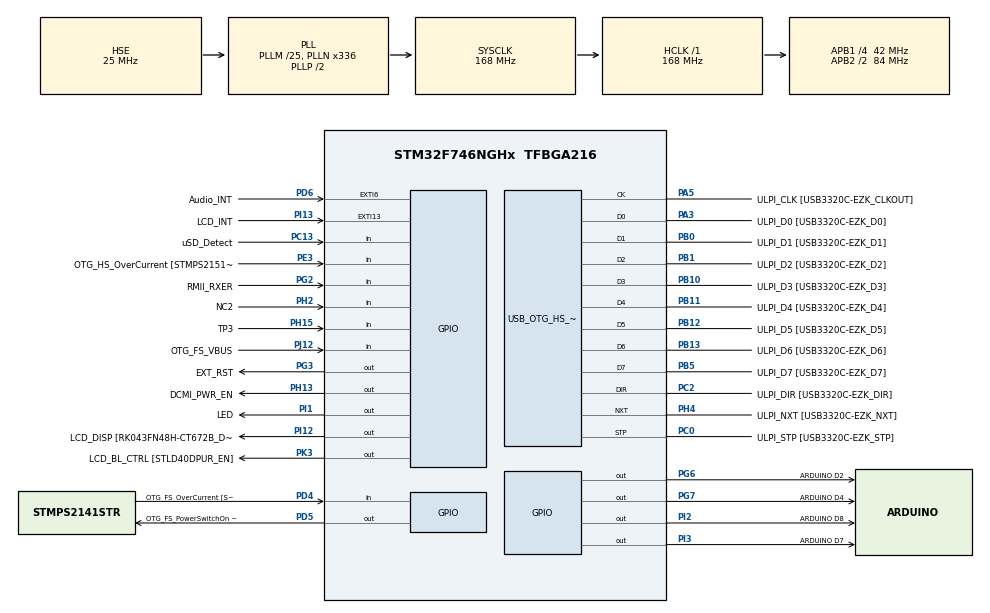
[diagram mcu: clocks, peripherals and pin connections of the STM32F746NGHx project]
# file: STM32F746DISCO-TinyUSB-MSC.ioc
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Mcu.Family=STM32F7
Mcu.Name=STM32F746NGHx
Mcu.Package=TFBGA216
NVIC.OTG_HS_IRQn=true\:10\:0\:true\:false\:true\:true\:true\:true
NVIC.PriorityGroup=NVIC_PRIORITYGROUP_4
PA0/WKUP.GPIO_Label=ARDUINO A0
PA0/WKUP.GPIO_Mode=GPIO_MODE_ANALOG
PA0/WKUP.GPIO_PuPd=GPIO_NOPULL
PA0/WKUP.Signal=ADCx_IN0
PA1.GPIO_Label=RMII_REF_CLK [LAN8742A-CZ-TR_REFCLK0]
PA1.Signal=ETH_REF_CLK
PA10.GPIO_Label=OTG_FS_ID
PA10.Signal=USB_OTG_FS_ID
PA11.GPIO_Label=OTG_FS_N
PA11.Signal=USB_OTG_FS_DM
PA12.GPIO_Label=OTG_FS_P
PA12.Signal=USB_OTG_FS_DP
PA13.GPIO_Label=SWDIO
PA13.Signal=SYS_JTMS-SWDIO
PA14.GPIO_Label=SWCLK
PA14.Signal=SYS_JTCK-SWCLK
PA15.GPIO_Label=ARDUINO PWM/D9
PA15.GPIO_ModeDefaultPP=GPIO_MODE_AF_PP
PA15.GPIO_PuPd=GPIO_NOPULL
PA15.GPIO_Speed=GPIO_SPEED_FREQ_LOW
PA15.Signal=S_TIM2_CH1_ETR
PA2.GPIO_Label=RMII_MDIO [LAN8742A-CZ-TR_MDIO]
PA2.Signal=ETH_MDIO
PA3.GPIO_Label=ULPI_D0 [USB3320C-EZK_D0]
PA3.Mode=Device_HS
PA3.Signal=USB_OTG_HS_ULPI_D0
PA4.GPIO_Label=DCMI_HSYNC
PA4.Signal=DCMI_HSYNC
PA5.GPIO_Label=ULPI_CLK [USB3320C-EZK_CLKOUT]
PA5.Mode=Device_HS
PA5.Signal=USB_OTG_HS_ULPI_CK
PA6.Signal=DCMI_PIXCLK
PA7.GPIO_Label=RMII_CRS_DV [LAN8742A-CZ-TR_CRS_DV]
PA7.Signal=ETH_CRS_DV
PA8.GPIO_Label=ARDUINO PWM/D10
PA8.GPIO_ModeDefaultPP=GPIO_MODE_AF_PP
PA8.GPIO_PuPd=GPIO_NOPULL
PA8.GPIO_Speed=GPIO_SPEED_FREQ_LOW
PA8.Signal=S_TIM1_CH1
PA9.GPIO_Label=VCP_TX [STM32F103CBT6_PA3]
PA9.GPIO_Mode=GPIO_MODE_AF_PP
PA9.GPIO_PuPd=GPIO_NOPULL
PA9.GPIO_Speed=GPIO_SPEED_FREQ_LOW
PA9.Signal=USART1_TX
PB0.GPIO_Label=ULPI_D1 [USB3320C-EZK_D1]
PB0.Mode=Device_HS
PB0.Signal=USB_OTG_HS_ULPI_D1
PB1.GPIO_Label=ULPI_D2 [USB3320C-EZK_D2]
PB1.Mode=Device_HS
PB1.Signal=USB_OTG_HS_ULPI_D2
PB10.GPIO_Label=ULPI_D3 [USB3320C-EZK_D3]
PB10.Mode=Device_HS
PB10.Signal=USB_OTG_HS_ULPI_D3
PB11.GPIO_Label=ULPI_D4 [USB3320C-EZK_D4]
PB11.Mode=Device_HS
PB11.Signal=USB_OTG_HS_ULPI_D4
PB12.GPIO_Label=ULPI_D5 [USB3320C-EZK_D5]
PB12.Mode=Device_HS
PB12.Signal=USB_OTG_HS_ULPI_D5
PB13.GPIO_Label=ULPI_D6 [USB3320C-EZK_D6]
PB13.Mode=Device_HS
PB13.Signal=USB_OTG_HS_ULPI_D6
PB14.GPIO_Label=ARDUINO MISO/D12
PB14.GPIO_Mode=GPIO_MODE_AF_PP
PB14.GPIO_PuPd=GPIO_NOPULL
PB14.GPIO_Speed=GPIO_SPEED_FREQ_LOW
PB14.Signal=SPI2_MISO
PB15.GPIO_Label=ARDUINO MOSI/PWM/D11
PB15.GPIO_Mode=GPIO_MODE_AF_PP
PB15.GPIO_PuPd=GPIO_NOPULL
PB15.GPIO_Speed=GPIO_SPEED_FREQ_LOW
PB15.Signal=SPI2_MOSI
PB2.Signal=QUADSPI_CLK
PB3.GPIO_Label=SWO
PB3.Signal=SYS_JTDO-SWO
PB4.GPIO_Label=ARDUINO PWM/D3
PB4.GPIO_ModeDefaultPP=GPIO_MODE_AF_PP
PB4.GPIO_PuPd=GPIO_NOPULL
PB4.GPIO_Speed=GPIO_SPEED_FREQ_LOW
PB4.Signal=S_TIM3_CH1
PB5.GPIO_Label=ULPI_D7 [USB3320C-EZK_D7]
PB5.Mode=Device_HS
PB5.Signal=USB_OTG_HS_ULPI_D7
PB6.GPIO_Label=QSPI_NCS [N25Q128A13EF840E_S]
PB6.Signal=QUADSPI_BK1_NCS
PB7.GPIO_Label=VCP_RX [STM32F103CBT6_PA2]
PB7.GPIO_Mode=GPIO_MODE_AF_PP
PB7.GPIO_PuPd=GPIO_NOPULL
PB7.GPIO_Speed=GPIO_SPEED_FREQ_LOW
PB7.Signal=USART1_RX
PB8.GPIO_Label=ARDUINO SCL/D15
PB8.GPIO_Mode=GPIO_MODE_AF_OD
PB8.GPIO_PuPd=GPIO_NOPULL
PB8.GPIO_Speed=GPIO_SPEED_FREQ_LOW
PB8.Signal=I2C1_SCL
PB9.GPIO_Label=ARDUINO SDA/D14
PB9.GPIO_Mode=GPIO_MODE_AF_OD
PB9.GPIO_PuPd=GPIO_NOPULL
PB9.GPIO_Speed=GPIO_SPEED_FREQ_LOW
PB9.Signal=I2C1_SDA
PC0.GPIO_Label=ULPI_STP [USB3320C-EZK_STP]
PC0.Mode=Device_HS
PC0.Signal=USB_OTG_HS_ULPI_STP
PC1.GPIO_Label=RMII_MDC [LAN8742A-CZ-TR_MDC]
PC1.Signal=ETH_MDC
PC10.GPIO_Label=SDMMC_D2
PC10.Signal=SDMMC1_D2
PC11.GPIO_Label=SDMMC_D3
PC11.Signal=SDMMC1_D3
PC12.GPIO_Label=SDMMC_CK
PC12.Signal=SDMMC1_CK
PC13.GPIO_Label=uSD_Detect
PC13.Signal=GPIO_Input
PC14/OSC32_IN.GPIO_Label=RCC_OSC32_IN
PC14/OSC32_IN.Mode=LSE-External-Clock-Source
PC14/OSC32_IN.Signal=RCC_OSC32_IN
PC15/OSC32_OUT.GPIO_Label=RCC_OSC32_OUT
PC15/OSC32_OUT.Mode=LSE-External-Clock-Source
PC15/OSC32_OUT.Signal=RCC_OSC32_OUT
PC2.GPIO_Label=ULPI_DIR [USB3320C-EZK_DIR]
PC2.Mode=Device_HS
PC2.Signal=USB_OTG_HS_ULPI_DIR
PC3.GPIO_Label=FMC_SDCKE0 [MT48LC4M32B2B5-6A_CKE]
PC3.Signal=FMC_SDCKE0
PC4.GPIO_Label=RMII_RXD0 [LAN8742A-CZ-TR_RXD0]
PC4.Signal=ETH_RXD0
PC5.GPIO_Label=RMII_RXD1 [LAN8742A-CZ-TR_RXD1]
PC5.Signal=ETH_RXD1
PC6.GPIO_Label=ARDUINO TX/D1
PC6.Signal=USART6_TX
PC7.GPIO_Label=ARDUINO RX/D0
PC7.Signal=USART6_RX
PC8.Signal=SDMMC1_D0
PC9.Signal=SDMMC1_D1
PD0.GPIO_Label=FMC_D2 [MT48LC4M32B2B5-6A_DQ2]
PD0.Signal=FMC_D2_DA2
PD1.GPIO_Label=FMC_D3 [MT48LC4M32B2B5-6A_DQ3]
PD1.Signal=FMC_D3_DA3
PD10.GPIO_Label=FMC_D15 [MT48LC4M32B2B5-6A_DQ15]
PD10.Signal=FMC_D15_DA15
PD11.GPIO_Label=QSPI_D0 [N25Q128A13EF840E_DQ0]
PD11.Signal=QUADSPI_BK1_IO0
PD12.GPIO_Label=QSPI_D1 [N25Q128A13EF840E_DQ1]
PD12.Signal=QUADSPI_BK1_IO1
PD13.GPIO_Label=QSPI_D3 [N25Q128A13EF840E_DQ3]
PD13.Signal=QUADSPI_BK1_IO3
PD14.GPIO_Label=FMC_D0 [MT48LC4M32B2B5-6A_DQ0]
PD14.Signal=FMC_D0_DA0
PD15.GPIO_Label=FMC_D1 [MT48LC4M32B2B5-6A_DQ1]
PD15.Signal=FMC_D1_DA1
PD2.GPIO_Label=SDMMC_D0
PD2.Signal=SDMMC1_CMD
PD3.GPIO_Label=DCMI_D5
PD3.Signal=DCMI_D5
PD4.GPIO_Label=OTG_FS_OverCurrent [STMPS2141STR_Fault]
PD4.Signal=GPIO_Input
PD5.GPIO_Label=OTG_FS_PowerSwitchOn [STMPS2141STR_EN]
PD5.PinState=GPIO_PIN_SET
PD5.Signal=GPIO_Output
PD6.GPIO_Label=Audio_INT
PD6.GPIO_ModeDefaultEXTI=GPIO_MODE_EVT_RISING
PD6.Signal=GPXTI6
PD7.GPIO_Label=SPDIF_RX0 [74LVC1G04SE_4]
PD7.Signal=SPDIFRX_IN0
PD8.GPIO_Label=FMC_D13 [MT48LC4M32B2B5-6A_DQ13]
PD8.Signal=FMC_D13_DA13
PD9.GPIO_Label=FMC_D14 [MT48LC4M32B2B5-6A_DQ14]
PD9.Signal=FMC_D14_DA14
PE0.GPIO_Label=FMC_NBL0 [MT48LC4M32B2B5-6A_DQM0]
PE0.Signal=FMC_NBL0
PE1.GPIO_Label=FMC_NBL1 [MT48LC4M32B2B5-6A_DQM1]
PE1.Signal=FMC_NBL1
PE10.GPIO_Label=FMC_D7 [MT48LC4M32B2B5-6A_DQ7]
PE10.Signal=FMC_D7_DA7
PE11.GPIO_Label=FMC_D8 [MT48LC4M32B2B5-6A_DQ8]
PE11.Signal=FMC_D8_DA8
PE12.GPIO_Label=FMC_D9 [MT48LC4M32B2B5-6A_DQ9]
PE12.Signal=FMC_D9_DA9
PE13.GPIO_Label=FMC_D10 [MT48LC4M32B2B5-6A_DQ10]
PE13.Signal=FMC_D10_DA10
PE14.GPIO_Label=FMC_D11 [MT48LC4M32B2B5-6A_DQ11]
PE14.Signal=FMC_D11_DA11
PE15.GPIO_Label=FMC_D12 [MT48LC4M32B2B5-6A_DQ12]
PE15.Signal=FMC_D12_DA12
PE2.GPIO_Label=QSPI_D2 [N25Q128A13EF840E_DQ2]
PE2.Signal=QUADSPI_BK1_IO2
PE3.GPIO_Label=OTG_HS_OverCurrent [STMPS2151STR_FAULT]
PE3.Signal=GPIO_Input
PE4.GPIO_Label=LCD_B0 [RK043FN48H-CT672B_B0]
PE4.Signal=LTDC_B0
PE5.GPIO_Label=DCMI_D6
PE5.Signal=DCMI_D6
PE6.GPIO_Label=DCMI_D7
PE6.Signal=DCMI_D7
PE7.GPIO_Label=FMC_D4 [MT48LC4M32B2B5-6A_DQ4]
PE7.Signal=FMC_D4_DA4
PE8.GPIO_Label=FMC_D5 [MT48LC4M32B2B5-6A_DQ5]
PE8.Signal=FMC_D5_DA5
PE9.GPIO_Label=FMC_D6 [MT48LC4M32B2B5-6A_DQ6]
PE9.Signal=FMC_D6_DA6
PF0.GPIO_Label=FMC_A0 [MT48LC4M32B2B5-6A_A0]
PF0.Signal=FMC_A0
PF1.GPIO_Label=FMC_A1 [MT48LC4M32B2B5-6A_A1]
PF1.Signal=FMC_A1
PF10.GPIO_Label=ARDUINO A1
PF10.GPIO_Mode=GPIO_MODE_ANALOG
PF10.GPIO_PuPd=GPIO_NOPULL
PF10.Signal=ADC3_IN8
PF11.GPIO_Label=FMC_SDNRAS [MT48LC4M32B2B5-6A_RAS]
PF11.Signal=FMC_SDNRAS
PF12.GPIO_Label=FMC_A6 [MT48LC4M32B2B5-6A_A6]
PF12.Signal=FMC_A6
PF13.GPIO_Label=FMC_A7 [MT48LC4M32B2B5-6A_A7]
PF13.Signal=FMC_A7
PF14.GPIO_Label=FMC_A8 [MT48LC4M32B2B5-6A_A8]
PF14.Signal=FMC_A8
PF15.GPIO_Label=FMC_A9 [MT48LC4M32B2B5-6A_A9]
PF15.Signal=FMC_A9
PF2.GPIO_Label=FMC_A2 [MT48LC4M32B2B5-6A_A2]
PF2.Signal=FMC_A2
PF3.GPIO_Label=FMC_A3 [MT48LC4M32B2B5-6A_A3]
PF3.Signal=FMC_A3
PF4.GPIO_Label=FMC_A4 [MT48LC4M32B2B5-6A_A4]
PF4.Signal=FMC_A4
PF5.GPIO_Label=FMC_A5 [MT48LC4M32B2B5-6A_A5]
PF5.Signal=FMC_A5
PF6.GPIO_Label=ARDUINO A5
PF6.GPIO_Mode=GPIO_MODE_ANALOG
PF6.GPIO_PuPd=GPIO_NOPULL
PF6.Signal=ADC3_IN4
PF7.GPIO_Label=ARDUINO A4
PF7.GPIO_Mode=GPIO_MODE_ANALOG
PF7.GPIO_PuPd=GPIO_NOPULL
PF7.Signal=ADC3_IN5
PF8.GPIO_Label=ARDUINO A3
PF8.GPIO_Mode=GPIO_MODE_ANALOG
PF8.GPIO_PuPd=GPIO_NOPULL
PF8.Signal=ADC3_IN6
PF9.GPIO_Label=ARDUINO A2
PF9.GPIO_Mode=GPIO_MODE_ANALOG
PF9.GPIO_PuPd=GPIO_NOPULL
PF9.Signal=ADC3_IN7
PG0.GPIO_Label=FMC_A10 [MT48LC4M32B2B5-6A_A10]
PG0.Signal=FMC_A10
PG1.GPIO_Label=FMC_A11 [MT48LC4M32B2B5-6A_A11]
PG1.Signal=FMC_A11
PG10.GPIO_Label=SAI2_SDB [WM8994ECS/R_ADCDAT1]
PG10.Signal=SAI2_SD_B
PG11.GPIO_Label=RMII_TX_EN [LAN8742A-CZ-TR_TXEN]
PG11.Signal=ETH_TX_EN
PG12.GPIO_Label=LCD_B4 [RK043FN48H-CT672B_B4]
PG12.Signal=LTDC_B4
PG13.GPIO_Label=RMII_TXD0 [LAN8742A-CZ-TR_TXD0]
PG13.Signal=ETH_TXD0
PG14.GPIO_Label=RMII_TXD1 [LAN8742A-CZ-TR_TXD1]
PG14.Signal=ETH_TXD1
PG15.GPIO_Label=FMC_SDNCAS [MT48LC4M32B2B5-6A_CAS]
PG15.Signal=FMC_SDNCAS
PG2.GPIO_Label=RMII_RXER
PG2.Signal=GPIO_Input
PG3.GPIO_Label=EXT_RST
PG3.Signal=GPIO_Output
PG4.GPIO_Label=FMC_BA0 [MT48LC4M32B2B5-6A_BA0]
PG4.Signal=FMC_A14_BA0
PG5.GPIO_Label=FMC_BA1 [MT48LC4M32B2B5-6A_BA1]
PG5.Signal=FMC_A15_BA1
PG6.GPIO_Label=ARDUINO D2
PG6.Signal=GPIO_Output
PG7.GPIO_Label=ARDUINO D4
PG7.Signal=GPIO_Output
PG8.GPIO_Label=FMC_SDCLK [MT48LC4M32B2B5-6A_CLK]
PG8.Signal=FMC_SDCLK
PG9.GPIO_Label=DCMI_VSYNC
PG9.Signal=DCMI_VSYNC
PH0/OSC_IN.GPIO_Label=OSC_25M [NZ2520SB-25.00M_OUT]
PH0/OSC_IN.Mode=HSE-External-Clock-Source
PH0/OSC_IN.Signal=RCC_OSC_IN
PH1/OSC_OUT.Mode=HSE-External-Clock-Source
PH1/OSC_OUT.Signal=RCC_OSC_OUT
PH10.GPIO_Label=DCMI_D1
PH10.Signal=DCMI_D1
PH11.GPIO_Label=DCMI_D2
PH11.Signal=DCMI_D2
PH12.GPIO_Label=DCMI_D3
PH12.Signal=DCMI_D3
PH13.GPIO_Label=DCMI_PWR_EN
PH13.Signal=GPIO_Output
PH14.GPIO_Label=DCMI_D4
PH14.Signal=DCMI_D4
PH15.GPIO_Label=TP3
PH15.Signal=GPIO_Input
PH2.GPIO_Label=NC2
PH2.Signal=GPIO_Input
PH3.GPIO_Label=FMC_SDNE0 [MT48LC4M32B2B5-6A_CS]
PH3.Signal=FMC_SDNE0
PH4.GPIO_Label=ULPI_NXT [USB3320C-EZK_NXT]
PH4.Mode=Device_HS
PH4.Signal=USB_OTG_HS_ULPI_NXT
PH5.GPIO_Label=FMC_SDNME [MT48LC4M32B2B5-6A_WE]
PH5.Signal=FMC_SDNWE
PH6.GPIO_Label=ARDUINO PWM/D6
PH6.Signal=S_TIM12_CH1
PH7.GPIO_Label=LCD_SCL [RK043FN48H-CT672B_SCL]
PH7.Signal=I2C3_SCL
PH8.GPIO_Label=LCD_SDA [RK043FN48H-CT672B_SDA]
PH8.Signal=I2C3_SDA
PH9.GPIO_Label=DCMI_D0
PH9.Signal=DCMI_D0
PI0.GPIO_Label=ARDUINO PWM/CS/D5
PI0.GPIO_ModeDefaultPP=GPIO_MODE_AF_PP
PI0.GPIO_PuPd=GPIO_NOPULL
PI0.GPIO_Speed=GPIO_SPEED_FREQ_LOW
PI0.Signal=S_TIM5_CH4
PI1.GPIO_Label=LED
PI1.Signal=GPIO_Output
PI10.GPIO_Label=LCD_HSYNC [RK043FN48H-CT672B_HSYNC]
PI10.Signal=LTDC_HSYNC
PI12.GPIO_Label=LCD_DISP [RK043FN48H-CT672B_DISP] 
PI12.Signal=GPIO_Output
PI13.GPIO_Label=LCD_INT
PI13.GPIO_ModeDefaultEXTI=GPIO_MODE_EVT_RISING
PI13.Signal=GPXTI13
PI14.GPIO_Label=LCD_CLK [RK043FN48H-CT672B_CLK]
PI14.Signal=LTDC_CLK
PI15.GPIO_Label=LCD_R0 [RK043FN48H-CT672B_R0]
PI15.Signal=LTDC_R0
PI2.GPIO_Label=ARDUINO D8
PI2.Signal=GPIO_Output
PI3.GPIO_Label=ARDUINO D7
PI3.Signal=GPIO_Output
PI4.GPIO_Label=SAI2_MCLKA [WM8994ECS/R_MCLK1]
PI4.Signal=SAI2_MCLK_A
PI5.GPIO_Label=SAI2_SCKA [WM8994ECS/R_BCLK1]
PI5.Signal=SAI2_SCK_A
PI6.GPIO_Label=SAI2_SDA [WM8994ECS/R_DACDAT1]
PI6.Signal=SAI2_SD_A
PI7.GPIO_Label=SAI2_FSA [WM8994ECS/R_LRCLK1]
PI7.Signal=SAI2_FS_A
PI8.GPIO_Label=NC1 [TP2]
PI8.Signal=RTC_TS
PI9.GPIO_Label=LCD_VSYNC [RK043FN48H-CT672B_VSYNC]
PI9.Signal=LTDC_VSYNC
PJ0.GPIO_Label=LCD_R1 [RK043FN48H-CT672B_R1]
PJ0.Signal=LTDC_R1
PJ1.GPIO_Label=LCD_R2 [RK043FN48H-CT672B_R2]
PJ1.Signal=LTDC_R2
PJ10.GPIO_Label=LCD_G3 [RK043FN48H-CT672B_G3]
PJ10.Signal=LTDC_G3
PJ11.GPIO_Label=LCD_G4 [RK043FN48H-CT672B_G4]
PJ11.Signal=LTDC_G4
PJ12.GPIO_Label=OTG_FS_VBUS
PJ12.Signal=GPIO_Input
PJ13.GPIO_Label=LCD_B1 [RK043FN48H-CT672B_B1]
PJ13.Signal=LTDC_B1
PJ14.GPIO_Label=LCD_B2 [RK043FN48H-CT672B_B2]
PJ14.Signal=LTDC_B2
PJ15.GPIO_Label=LCD_B3 [RK043FN48H-CT672B_B3]
PJ15.Signal=LTDC_B3
PJ2.GPIO_Label=LCD_R3 [RK043FN48H-CT672B_R3]
PJ2.Signal=LTDC_R3
PJ3.GPIO_Label=LCD_R4 [RK043FN48H-CT672B_R4]
PJ3.Signal=LTDC_R4
PJ4.GPIO_Label=LCD_R5 [RK043FN48H-CT672B_R5]
PJ4.Signal=LTDC_R5
PJ5.GPIO_Label=LCD_R6 [RK043FN48H-CT672B_R6]
PJ5.Signal=LTDC_R6
PJ6.GPIO_Label=LCD_R7 [RK043FN48H-CT672B_R7]
PJ6.Signal=LTDC_R7
PJ7.GPIO_Label=LCD_G0 [RK043FN48H-CT672B_G0]
PJ7.Signal=LTDC_G0
PJ8.GPIO_Label=LCD_G1 [RK043FN48H-CT672B_G1]
PJ8.Signal=LTDC_G1
PJ9.GPIO_Label=LCD_G2 [RK043FN48H-CT672B_G2]
PJ9.Signal=LTDC_G2
PK0.GPIO_Label=LCD_G5 [RK043FN48H-CT672B_G5]
PK0.Signal=LTDC_G5
PK1.GPIO_Label=LCD_G6 [RK043FN48H-CT672B_G6]
PK1.Signal=LTDC_G6
PK2.GPIO_Label=LCD_G7 [RK043FN48H-CT672B_G7]
PK2.Signal=LTDC_G7
PK3.GPIO_Label=LCD_BL_CTRL [STLD40DPUR_EN]
PK3.Signal=GPIO_Output
PK4.GPIO_Label=LCD_B5 [RK043FN48H-CT672B_B5]
PK4.Signal=LTDC_B5
PK5.GPIO_Label=LCD_B6 [RK043FN48H-CT672B_B6]
PK5.Signal=LTDC_B6
PK6.GPIO_Label=LCD_B7 [RK043FN48H-CT672B_B7]
PK6.Signal=LTDC_B7
PK7.GPIO_Label=LCD_DE [RK043FN48H-CT672B_DE]
PK7.Signal=LTDC_DE
ProjectManager.HeapSize=0x200
ProjectManager.StackSize=0x400
ProjectManager.TargetToolchain=CMake
RCC.AHBFreq_Value=168000000
RCC.APB1CLKDivider=RCC_HCLK_DIV4
RCC.APB1Freq_Value=42000000
RCC.APB1TimFreq_Value=84000000
RCC.APB2CLKDivider=RCC_HCLK_DIV2
RCC.APB2Freq_Value=84000000
RCC.APB2TimFreq_Value=168000000
RCC.CortexFreq_Value=168000000
RCC.HCLKFreq_Value=168000000
RCC.HSE_VALUE=25000000
RCC.HSI_VALUE=16000000
RCC.LSE_VALUE=32768
RCC.PLLM=25
RCC.PLLN=336
RCC.PLLSourceVirtual=RCC_PLLSOURCE_HSE
RCC.SYSCLKFreq_VALUE=168000000
RCC.SYSCLKSource=RCC_SYSCLKSOURCE_PLLCLK
RCC.USBFreq_Value=168000000
RCC.VCOOutputFreq_Value=336000000
SH.ADCx_IN0.0=ADC3_IN0
SH.FMC_A0.0=FMC_A0
SH.FMC_A1.0=FMC_A1
SH.FMC_A10.0=FMC_A10
SH.FMC_A11.0=FMC_A11
SH.FMC_A14_BA0.0=FMC_BA0
SH.FMC_A15_BA1.0=FMC_BA1
SH.FMC_A2.0=FMC_A2
SH.FMC_A3.0=FMC_A3
SH.FMC_A4.0=FMC_A4
SH.FMC_A5.0=FMC_A5
SH.FMC_A6.0=FMC_A6
SH.FMC_A7.0=FMC_A7
SH.FMC_A8.0=FMC_A8
SH.FMC_A9.0=FMC_A9
SH.FMC_D0_DA0.0=FMC_D0
SH.FMC_D10_DA10.0=FMC_D10
SH.FMC_D11_DA11.0=FMC_D11
SH.FMC_D12_DA12.0=FMC_D12
SH.FMC_D13_DA13.0=FMC_D13
SH.FMC_D14_DA14.0=FMC_D14
SH.FMC_D15_DA15.0=FMC_D15
SH.FMC_D1_DA1.0=FMC_D1
SH.FMC_D2_DA2.0=FMC_D2
SH.FMC_D3_DA3.0=FMC_D3
SH.FMC_D4_DA4.0=FMC_D4
SH.FMC_D5_DA5.0=FMC_D5
SH.FMC_D6_DA6.0=FMC_D6
SH.FMC_D7_DA7.0=FMC_D7
SH.FMC_D8_DA8.0=FMC_D8
SH.FMC_D9_DA9.0=FMC_D9
SH.FMC_NBL0.0=FMC_NBL0
SH.FMC_NBL1.0=FMC_NBL1
SH.FMC_SDCLK.0=FMC_SDCLK
SH.FMC_SDNCAS.0=FMC_SDNCAS
SH.FMC_SDNRAS.0=FMC_SDNRAS
SH.FMC_SDNWE.0=FMC_SDNWE
SH.S_TIM12_CH1.0=TIM12_CH1
SH.S_TIM1_CH1.0=TIM1_CH1
SH.S_TIM2_CH1_ETR.0=TIM2_CH1
SH.S_TIM3_CH1.0=TIM3_CH1
SH.S_TIM5_CH4.0=TIM5_CH4
USB_OTG_HS.VirtualMode-Device_HS=Device_HS
board=STM32F746G-DISCO

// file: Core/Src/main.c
/* USER CODE BEGIN Header */
/**
  ******************************************************************************
  * @file           : main.c
  * @brief          : Main program body
  ******************************************************************************
  * @attention
  *
  * Copyright (c) 2024 STMicroelectronics.
  * All rights reserved.
  *
  * This software is licensed under terms that can be found in the LICENSE file
  * in the root directory of this software component.
  * If no LICENSE file comes with this software, it is provided AS-IS.
  *
  ******************************************************************************
  */
/* USER CODE END Header */
#include "main.h"

/* USER CODE BEGIN Includes */
#include "tusb.h"
/* USER CODE END Includes */

/* USER CODE BEGIN PTD */

/* Blink pattern
 * - 250 ms  : device not mounted
 * - 1000 ms : device mounted
 * - 2500 ms : device is suspended
 */
enum {
  BLINK_NOT_MOUNTED = 250,
  BLINK_MOUNTED = 1000,
  BLINK_SUSPENDED = 2500,
};

/* USER CODE END PTD */

PCD_HandleTypeDef hpcd_USB_OTG_HS;

/* USER CODE BEGIN PV */

static uint32_t blink_interval_ms = BLINK_NOT_MOUNTED;

/* USER CODE END PV */

void SystemClock_Config(void);
static void MX_GPIO_Init(void);
static void MX_USB_OTG_HS_PCD_Init(void);
/* USER CODE BEGIN PFP */

static void led_blinking_task(void);
static void cdc_task(void);

/* USER CODE END PFP */

int main(void)
{

  /* MCU Configuration--------------------------------------------------------*/

  /* Reset of all peripherals, Initializes the Flash interface and the Systick. */
  HAL_Init();

  /* Configure the system clock */
  SystemClock_Config();

  /* Initialize all configured peripherals */
  MX_GPIO_Init();
  MX_USB_OTG_HS_PCD_Init();
  /* USER CODE BEGIN 2 */
  tusb_init();
  /* USER CODE END 2 */

  /* Infinite loop */
  while (1)
  {

    /* USER CODE BEGIN 3 */
    tud_task();
    led_blinking_task();

    cdc_task();
  }
  /* USER CODE END 3 */
}

void SystemClock_Config(void)
{
  RCC_OscInitTypeDef RCC_OscInitStruct = {0};
  RCC_ClkInitTypeDef RCC_ClkInitStruct = {0};

  /** Configure the main internal regulator output voltage
  */
  __HAL_RCC_PWR_CLK_ENABLE();
  __HAL_PWR_VOLTAGESCALING_CONFIG(PWR_REGULATOR_VOLTAGE_SCALE2);

  /** Initializes the RCC Oscillators according to the specified parameters
  * in the RCC_OscInitTypeDef structure.
  */
  RCC_OscInitStruct.OscillatorType = RCC_OSCILLATORTYPE_HSE;
  RCC_OscInitStruct.HSEState = RCC_HSE_BYPASS;
  RCC_OscInitStruct.PLL.PLLState = RCC_PLL_ON;
  RCC_OscInitStruct.PLL.PLLSource = RCC_PLLSOURCE_HSE;
  RCC_OscInitStruct.PLL.PLLM = 25;
  RCC_OscInitStruct.PLL.PLLN = 336;
  RCC_OscInitStruct.PLL.PLLP = RCC_PLLP_DIV2;
  RCC_OscInitStruct.PLL.PLLQ = 2;
  if (HAL_RCC_OscConfig(&RCC_OscInitStruct) != HAL_OK)
  {
    Error_Handler();
  }

  /** Initializes the CPU, AHB and APB buses clocks
  */
  RCC_ClkInitStruct.ClockType = RCC_CLOCKTYPE_HCLK|RCC_CLOCKTYPE_SYSCLK
                              |RCC_CLOCKTYPE_PCLK1|RCC_CLOCKTYPE_PCLK2;
  RCC_ClkInitStruct.SYSCLKSource = RCC_SYSCLKSOURCE_PLLCLK;
  RCC_ClkInitStruct.AHBCLKDivider = RCC_SYSCLK_DIV1;
  RCC_ClkInitStruct.APB1CLKDivider = RCC_HCLK_DIV4;
  RCC_ClkInitStruct.APB2CLKDivider = RCC_HCLK_DIV2;

  if (HAL_RCC_ClockConfig(&RCC_ClkInitStruct, FLASH_LATENCY_5) != HAL_OK)
  {
    Error_Handler();
  }
}

static void MX_USB_OTG_HS_PCD_Init(void)
{

  hpcd_USB_OTG_HS.Instance = USB_OTG_HS;
  hpcd_USB_OTG_HS.Init.dev_endpoints = 8;
  hpcd_USB_OTG_HS.Init.speed = PCD_SPEED_HIGH;
  hpcd_USB_OTG_HS.Init.dma_enable = DISABLE;
  hpcd_USB_OTG_HS.Init.phy_itface = USB_OTG_ULPI_PHY;
  hpcd_USB_OTG_HS.Init.Sof_enable = DISABLE;
  hpcd_USB_OTG_HS.Init.low_power_enable = DISABLE;
  hpcd_USB_OTG_HS.Init.lpm_enable = DISABLE;
  hpcd_USB_OTG_HS.Init.vbus_sensing_enable = DISABLE;
  hpcd_USB_OTG_HS.Init.use_dedicated_ep1 = DISABLE;
  hpcd_USB_OTG_HS.Init.use_external_vbus = DISABLE;
  if (HAL_PCD_Init(&hpcd_USB_OTG_HS) != HAL_OK)
  {
    Error_Handler();
  }

}

static void MX_GPIO_Init(void)
{
  GPIO_InitTypeDef GPIO_InitStruct = {0};

  /* GPIO Ports Clock Enable */
  __HAL_RCC_GPIOE_CLK_ENABLE();
  __HAL_RCC_GPIOG_CLK_ENABLE();
  __HAL_RCC_GPIOB_CLK_ENABLE();
  __HAL_RCC_GPIOD_CLK_ENABLE();
  __HAL_RCC_GPIOC_CLK_ENABLE();
  __HAL_RCC_GPIOA_CLK_ENABLE();
  __HAL_RCC_GPIOJ_CLK_ENABLE();
  __HAL_RCC_GPIOI_CLK_ENABLE();
  __HAL_RCC_GPIOK_CLK_ENABLE();
  __HAL_RCC_GPIOF_CLK_ENABLE();
  __HAL_RCC_GPIOH_CLK_ENABLE();

  /*Configure GPIO pin Output Level */
  HAL_GPIO_WritePin(OTG_FS_PowerSwitchOn_GPIO_Port, OTG_FS_PowerSwitchOn_Pin, GPIO_PIN_SET);

  /*Configure GPIO pin Output Level */
  HAL_GPIO_WritePin(GPIOI, ARDUINO_D7_Pin|ARDUINO_D8_Pin|LED_Pin|LCD_DISP_Pin, GPIO_PIN_RESET);

  /*Configure GPIO pin Output Level */
  HAL_GPIO_WritePin(LCD_BL_CTRL_GPIO_Port, LCD_BL_CTRL_Pin, GPIO_PIN_RESET);

  /*Configure GPIO pin Output Level */
  HAL_GPIO_WritePin(DCMI_PWR_EN_GPIO_Port, DCMI_PWR_EN_Pin, GPIO_PIN_RESET);

  /*Configure GPIO pin Output Level */
  HAL_GPIO_WritePin(GPIOG, ARDUINO_D4_Pin|ARDUINO_D2_Pin|EXT_RST_Pin, GPIO_PIN_RESET);

  /*Configure GPIO pin : LCD_B0_Pin */
  GPIO_InitStruct.Pin = LCD_B0_Pin;
  GPIO_InitStruct.Mode = GPIO_MODE_AF_PP;
  GPIO_InitStruct.Pull = GPIO_NOPULL;
  GPIO_InitStruct.Speed = GPIO_SPEED_FREQ_LOW;
  GPIO_InitStruct.Alternate = GPIO_AF14_LTDC;
  HAL_GPIO_Init(LCD_B0_GPIO_Port, &GPIO_InitStruct);

  /*Configure GPIO pin : OTG_HS_OverCurrent_Pin */
  GPIO_InitStruct.Pin = OTG_HS_OverCurrent_Pin;
  GPIO_InitStruct.Mode = GPIO_MODE_INPUT;
  GPIO_InitStruct.Pull = GPIO_NOPULL;
  HAL_GPIO_Init(OTG_HS_OverCurrent_GPIO_Port, &GPIO_InitStruct);

  /*Configure GPIO pin : QSPI_D2_Pin */
  GPIO_InitStruct.Pin = QSPI_D2_Pin;
  GPIO_InitStruct.Mode = GPIO_MODE_AF_PP;
  GPIO_InitStruct.Pull = GPIO_NOPULL;
  GPIO_InitStruct.Speed = GPIO_SPEED_FREQ_VERY_HIGH;
  GPIO_InitStruct.Alternate = GPIO_AF9_QUADSPI;
  HAL_GPIO_Init(QSPI_D2_GPIO_Port, &GPIO_InitStruct);

  /*Configure GPIO pins : RMII_TXD1_Pin RMII_TXD0_Pin RMII_TX_EN_Pin */
  GPIO_InitStruct.Pin = RMII_TXD1_Pin|RMII_TXD0_Pin|RMII_TX_EN_Pin;
  GPIO_InitStruct.Mode = GPIO_MODE_AF_PP;
  GPIO_InitStruct.Pull = GPIO_NOPULL;
  GPIO_InitStruct.Speed = GPIO_SPEED_FREQ_VERY_HIGH;
  GPIO_InitStruct.Alternate = GPIO_AF11_ETH;
  HAL_GPIO_Init(GPIOG, &GPIO_InitStruct);

  /*Configure GPIO pins : FMC_NBL1_Pin FMC_NBL0_Pin FMC_D5_Pin FMC_D6_Pin
                           FMC_D8_Pin FMC_D11_Pin FMC_D4_Pin FMC_D7_Pin
                           FMC_D9_Pin FMC_D12_Pin FMC_D10_Pin */
  GPIO_InitStruct.Pin = FMC_NBL1_Pin|FMC_NBL0_Pin|FMC_D5_Pin|FMC_D6_Pin
                          |FMC_D8_Pin|FMC_D11_Pin|FMC_D4_Pin|FMC_D7_Pin
                          |FMC_D9_Pin|FMC_D12_Pin|FMC_D10_Pin;
  GPIO_InitStruct.Mode = GPIO_MODE_AF_PP;
  GPIO_InitStruct.Pull = GPIO_NOPULL;
  GPIO_InitStruct.Speed = GPIO_SPEED_FREQ_VERY_HIGH;
  GPIO_InitStruct.Alternate = GPIO_AF12_FMC;
  HAL_GPIO_Init(GPIOE, &GPIO_InitStruct);

  /*Configure GPIO pins : ARDUINO_SCL_D15_Pin ARDUINO_SDA_D14_Pin */
  GPIO_InitStruct.Pin = ARDUINO_SCL_D15_Pin|ARDUINO_SDA_D14_Pin;
  GPIO_InitStruct.Mode = GPIO_MODE_AF_OD;
  GPIO_InitStruct.Pull = GPIO_NOPULL;
  GPIO_InitStruct.Speed = GPIO_SPEED_FREQ_LOW;
  GPIO_InitStruct.Alternate = GPIO_AF4_I2C1;
  HAL_GPIO_Init(GPIOB, &GPIO_InitStruct);

  /*Configure GPIO pin : ARDUINO_PWM_D3_Pin */
  GPIO_InitStruct.Pin = ARDUINO_PWM_D3_Pin;
  GPIO_InitStruct.Mode = GPIO_MODE_AF_PP;
  GPIO_InitStruct.Pull = GPIO_NOPULL;
  GPIO_InitStruct.Speed = GPIO_SPEED_FREQ_LOW;
  GPIO_InitStruct.Alternate = GPIO_AF2_TIM3;
  HAL_GPIO_Init(ARDUINO_PWM_D3_GPIO_Port, &GPIO_InitStruct);

  /*Configure GPIO pin : SPDIF_RX0_Pin */
  GPIO_InitStruct.Pin = SPDIF_RX0_Pin;
  GPIO_InitStruct.Mode = GPIO_MODE_AF_PP;
  GPIO_InitStruct.Pull = GPIO_NOPULL;
  GPIO_InitStruct.Speed = GPIO_SPEED_FREQ_LOW;
  GPIO_InitStruct.Alternate = GPIO_AF8_SPDIFRX;
  HAL_GPIO_Init(SPDIF_RX0_GPIO_Port, &GPIO_InitStruct);

  /*Configure GPIO pins : SDMMC_CK_Pin SDMMC_D3_Pin SDMMC_D2_Pin PC9
                           PC8 */
  GPIO_InitStruct.Pin = SDMMC_CK_Pin|SDMMC_D3_Pin|SDMMC_D2_Pin|GPIO_PIN_9
                          |GPIO_PIN_8;
  GPIO_InitStruct.Mode = GPIO_MODE_AF_PP;
  GPIO_InitStruct.Pull = GPIO_NOPULL;
  GPIO_InitStruct.Speed = GPIO_SPEED_FREQ_VERY_HIGH;
  GPIO_InitStruct.Alternate = GPIO_AF12_SDMMC1;
  HAL_GPIO_Init(GPIOC, &GPIO_InitStruct);

  /*Configure GPIO pin : ARDUINO_PWM_D9_Pin */
  GPIO_InitStruct.Pin = ARDUINO_PWM_D9_Pin;
  GPIO_InitStruct.Mode = GPIO_MODE_AF_PP;
  GPIO_InitStruct.Pull = GPIO_NOPULL;
  GPIO_InitStruct.Speed = GPIO_SPEED_FREQ_LOW;
  GPIO_InitStruct.Alternate = GPIO_AF1_TIM2;
  HAL_GPIO_Init(ARDUINO_PWM_D9_GPIO_Port, &GPIO_InitStruct);

  /*Configure GPIO pins : DCMI_D6_Pin DCMI_D7_Pin */
  GPIO_InitStruct.Pin = DCMI_D6_Pin|DCMI_D7_Pin;
  GPIO_InitStruct.Mode = GPIO_MODE_AF_PP;
  GPIO_InitStruct.Pull = GPIO_NOPULL;
  GPIO_InitStruct.Speed = GPIO_SPEED_FREQ_LOW;
  GPIO_InitStruct.Alternate = GPIO_AF13_DCMI;
  HAL_GPIO_Init(GPIOE, &GPIO_InitStruct);

  /*Configure GPIO pin : VCP_RX_Pin */
  GPIO_InitStruct.Pin = VCP_RX_Pin;
  GPIO_InitStruct.Mode = GPIO_MODE_AF_PP;
  GPIO_InitStruct.Pull = GPIO_NOPULL;
  GPIO_InitStruct.Speed = GPIO_SPEED_FREQ_LOW;
  GPIO_InitStruct.Alternate = GPIO_AF7_USART1;
  HAL_GPIO_Init(VCP_RX_GPIO_Port, &GPIO_InitStruct);

  /*Configure GPIO pin : QSPI_NCS_Pin */
  GPIO_InitStruct.Pin = QSPI_NCS_Pin;
  GPIO_InitStruct.Mode = GPIO_MODE_AF_PP;
  GPIO_InitStruct.Pull = GPIO_NOPULL;
  GPIO_InitStruct.Speed = GPIO_SPEED_FREQ_VERY_HIGH;
  GPIO_InitStruct.Alternate = GPIO_AF10_QUADSPI;
  HAL_GPIO_Init(QSPI_NCS_GPIO_Port, &GPIO_InitStruct);

  /*Configure GPIO pins : FMC_SDNCAS_Pin FMC_SDCLK_Pin FMC_A11_Pin FMC_A10_Pin
                           FMC_BA1_Pin FMC_BA0_Pin */
  GPIO_InitStruct.Pin = FMC_SDNCAS_Pin|FMC_SDCLK_Pin|FMC_A11_Pin|FMC_A10_Pin
                          |FMC_BA1_Pin|FMC_BA0_Pin;
  GPIO_InitStruct.Mode = GPIO_MODE_AF_PP;
  GPIO_InitStruct.Pull = GPIO_NOPULL;
  GPIO_InitStruct.Speed = GPIO_SPEED_FREQ_VERY_HIGH;
  GPIO_InitStruct.Alternate = GPIO_AF12_FMC;
  HAL_GPIO_Init(GPIOG, &GPIO_InitStruct);

  /*Configure GPIO pins : LCD_B1_Pin LCD_B2_Pin LCD_B3_Pin LCD_G4_Pin
                           LCD_G1_Pin LCD_G3_Pin LCD_G0_Pin LCD_G2_Pin
                           LCD_R7_Pin LCD_R5_Pin LCD_R6_Pin LCD_R4_Pin
                           LCD_R3_Pin LCD_R1_Pin LCD_R2_Pin */
  GPIO_InitStruct.Pin = LCD_B1_Pin|LCD_B2_Pin|LCD_B3_Pin|LCD_G4_Pin
                          |LCD_G1_Pin|LCD_G3_Pin|LCD_G0_Pin|LCD_G2_Pin
                          |LCD_R7_Pin|LCD_R5_Pin|LCD_R6_Pin|LCD_R4_Pin
                          |LCD_R3_Pin|LCD_R1_Pin|LCD_R2_Pin;
  GPIO_InitStruct.Mode = GPIO_MODE_AF_PP;
  GPIO_InitStruct.Pull = GPIO_NOPULL;
  GPIO_InitStruct.Speed = GPIO_SPEED_FREQ_LOW;
  GPIO_InitStruct.Alternate = GPIO_AF14_LTDC;
  HAL_GPIO_Init(GPIOJ, &GPIO_InitStruct);

  /*Configure GPIO pin : OTG_FS_VBUS_Pin */
  GPIO_InitStruct.Pin = OTG_FS_VBUS_Pin;
  GPIO_InitStruct.Mode = GPIO_MODE_INPUT;
  GPIO_InitStruct.Pull = GPIO_NOPULL;
  HAL_GPIO_Init(OTG_FS_VBUS_GPIO_Port, &GPIO_InitStruct);

  /*Configure GPIO pin : Audio_INT_Pin */
  GPIO_InitStruct.Pin = Audio_INT_Pin;
  GPIO_InitStruct.Mode = GPIO_MODE_EVT_RISING;
  GPIO_InitStruct.Pull = GPIO_NOPULL;
  HAL_GPIO_Init(Audio_INT_GPIO_Port, &GPIO_InitStruct);

  /*Configure GPIO pins : FMC_D2_Pin FMC_D3_Pin FMC_D1_Pin FMC_D15_Pin
                           FMC_D0_Pin FMC_D14_Pin FMC_D13_Pin */
  GPIO_InitStruct.Pin = FMC_D2_Pin|FMC_D3_Pin|FMC_D1_Pin|FMC_D15_Pin
                          |FMC_D0_Pin|FMC_D14_Pin|FMC_D13_Pin;
  GPIO_InitStruct.Mode = GPIO_MODE_AF_PP;
  GPIO_InitStruct.Pull = GPIO_NOPULL;
  GPIO_InitStruct.Speed = GPIO_SPEED_FREQ_VERY_HIGH;
  GPIO_InitStruct.Alternate = GPIO_AF12_FMC;
  HAL_GPIO_Init(GPIOD, &GPIO_InitStruct);

  /*Configure GPIO pins : OTG_FS_P_Pin OTG_FS_N_Pin OTG_FS_ID_Pin */
  GPIO_InitStruct.Pin = OTG_FS_P_Pin|OTG_FS_N_Pin|OTG_FS_ID_Pin;
  GPIO_InitStruct.Mode = GPIO_MODE_AF_PP;
  GPIO_InitStruct.Pull = GPIO_NOPULL;
  GPIO_InitStruct.Speed = GPIO_SPEED_FREQ_VERY_HIGH;
  GPIO_InitStruct.Alternate = GPIO_AF10_OTG_FS;
  HAL_GPIO_Init(GPIOA, &GPIO_InitStruct);

  /*Configure GPIO pins : SAI2_MCLKA_Pin SAI2_SCKA_Pin SAI2_FSA_Pin SAI2_SDA_Pin */
  GPIO_InitStruct.Pin = SAI2_MCLKA_Pin|SAI2_SCKA_Pin|SAI2_FSA_Pin|SAI2_SDA_Pin;
  GPIO_InitStruct.Mode = GPIO_MODE_AF_PP;
  GPIO_InitStruct.Pull = GPIO_NOPULL;
  GPIO_InitStruct.Speed = GPIO_SPEED_FREQ_LOW;
  GPIO_InitStruct.Alternate = GPIO_AF10_SAI2;
  HAL_GPIO_Init(GPIOI, &GPIO_InitStruct);

  /*Configure GPIO pins : LCD_DE_Pin LCD_B7_Pin LCD_B6_Pin LCD_B5_Pin
                           LCD_G6_Pin LCD_G7_Pin LCD_G5_Pin */
  GPIO_InitStruct.Pin = LCD_DE_Pin|LCD_B7_Pin|LCD_B6_Pin|LCD_B5_Pin
                          |LCD_G6_Pin|LCD_G7_Pin|LCD_G5_Pin;
  GPIO_InitStruct.Mode = GPIO_MODE_AF_PP;
  GPIO_InitStruct.Pull = GPIO_NOPULL;
  GPIO_InitStruct.Speed = GPIO_SPEED_FREQ_LOW;
  GPIO_InitStruct.Alternate = GPIO_AF14_LTDC;
  HAL_GPIO_Init(GPIOK, &GPIO_InitStruct);

  /*Configure GPIO pin : LCD_B4_Pin */
  GPIO_InitStruct.Pin = LCD_B4_Pin;
  GPIO_InitStruct.Mode = GPIO_MODE_AF_PP;
  GPIO_InitStruct.Pull = GPIO_NOPULL;
  GPIO_InitStruct.Speed = GPIO_SPEED_FREQ_LOW;
  GPIO_InitStruct.Alternate = GPIO_AF9_LTDC;
  HAL_GPIO_Init(LCD_B4_GPIO_Port, &GPIO_InitStruct);

  /*Configure GPIO pin : SAI2_SDB_Pin */
  GPIO_InitStruct.Pin = SAI2_SDB_Pin;
  GPIO_InitStruct.Mode = GPIO_MODE_AF_PP;
  GPIO_InitStruct.Pull = GPIO_NOPULL;
  GPIO_InitStruct.Speed = GPIO_SPEED_FREQ_LOW;
  GPIO_InitStruct.Alternate = GPIO_AF10_SAI2;
  HAL_GPIO_Init(SAI2_SDB_GPIO_Port, &GPIO_InitStruct);

  /*Configure GPIO pin : OTG_FS_PowerSwitchOn_Pin */
  GPIO_InitStruct.Pin = OTG_FS_PowerSwitchOn_Pin;
  GPIO_InitStruct.Mode = GPIO_MODE_OUTPUT_PP;
  GPIO_InitStruct.Pull = GPIO_NOPULL;
  GPIO_InitStruct.Speed = GPIO_SPEED_FREQ_LOW;
  HAL_GPIO_Init(OTG_FS_PowerSwitchOn_GPIO_Port, &GPIO_InitStruct);

  /*Configure GPIO pin : DCMI_D5_Pin */
  GPIO_InitStruct.Pin = DCMI_D5_Pin;
  GPIO_InitStruct.Mode = GPIO_MODE_AF_PP;
  GPIO_InitStruct.Pull = GPIO_NOPULL;
  GPIO_InitStruct.Speed = GPIO_SPEED_FREQ_LOW;
  GPIO_InitStruct.Alternate = GPIO_AF13_DCMI;
  HAL_GPIO_Init(DCMI_D5_GPIO_Port, &GPIO_InitStruct);

  /*Configure GPIO pins : ARDUINO_D7_Pin ARDUINO_D8_Pin LED_Pin LCD_DISP_Pin */
  GPIO_InitStruct.Pin = ARDUINO_D7_Pin|ARDUINO_D8_Pin|LED_Pin|LCD_DISP_Pin;
  GPIO_InitStruct.Mode = GPIO_MODE_OUTPUT_PP;
  GPIO_InitStruct.Pull = GPIO_NOPULL;
  GPIO_InitStruct.Speed = GPIO_SPEED_FREQ_LOW;
  HAL_GPIO_Init(GPIOI, &GPIO_InitStruct);

  /*Configure GPIO pin : uSD_Detect_Pin */
  GPIO_InitStruct.Pin = uSD_Detect_Pin;
  GPIO_InitStruct.Mode = GPIO_MODE_INPUT;
  GPIO_InitStruct.Pull = GPIO_NOPULL;
  HAL_GPIO_Init(uSD_Detect_GPIO_Port, &GPIO_InitStruct);

  /*Configure GPIO pins : FMC_A0_Pin FMC_A1_Pin FMC_A2_Pin FMC_A3_Pin
                           FMC_A4_Pin FMC_A5_Pin FMC_A6_Pin FMC_A9_Pin
                           FMC_A7_Pin FMC_A8_Pin FMC_SDNRAS_Pin */
  GPIO_InitStruct.Pin = FMC_A0_Pin|FMC_A1_Pin|FMC_A2_Pin|FMC_A3_Pin
                          |FMC_A4_Pin|FMC_A5_Pin|FMC_A6_Pin|FMC_A9_Pin
                          |FMC_A7_Pin|FMC_A8_Pin|FMC_SDNRAS_Pin;
  GPIO_InitStruct.Mode = GPIO_MODE_AF_PP;
  GPIO_InitStruct.Pull = GPIO_NOPULL;
  GPIO_InitStruct.Speed = GPIO_SPEED_FREQ_VERY_HIGH;
  GPIO_InitStruct.Alternate = GPIO_AF12_FMC;
  HAL_GPIO_Init(GPIOF, &GPIO_InitStruct);

  /*Configure GPIO pins : LCD_HSYNC_Pin LCD_VSYNC_Pin LCD_R0_Pin LCD_CLK_Pin */
  GPIO_InitStruct.Pin = LCD_HSYNC_Pin|LCD_VSYNC_Pin|LCD_R0_Pin|LCD_CLK_Pin;
  GPIO_InitStruct.Mode = GPIO_MODE_AF_PP;
  GPIO_InitStruct.Pull = GPIO_NOPULL;
  GPIO_InitStruct.Speed = GPIO_SPEED_FREQ_LOW;
  GPIO_InitStruct.Alternate = GPIO_AF14_LTDC;
  HAL_GPIO_Init(GPIOI, &GPIO_InitStruct);

  /*Configure GPIO pin : LCD_BL_CTRL_Pin */
  GPIO_InitStruct.Pin = LCD_BL_CTRL_Pin;
  GPIO_InitStruct.Mode = GPIO_MODE_OUTPUT_PP;
  GPIO_InitStruct.Pull = GPIO_NOPULL;
  GPIO_InitStruct.Speed = GPIO_SPEED_FREQ_LOW;
  HAL_GPIO_Init(LCD_BL_CTRL_GPIO_Port, &GPIO_InitStruct);

  /*Configure GPIO pin : DCMI_VSYNC_Pin */
  GPIO_InitStruct.Pin = DCMI_VSYNC_Pin;
  GPIO_InitStruct.Mode = GPIO_MODE_AF_PP;
  GPIO_InitStruct.Pull = GPIO_NOPULL;
  GPIO_InitStruct.Speed = GPIO_SPEED_FREQ_LOW;
  GPIO_InitStruct.Alternate = GPIO_AF13_DCMI;
  HAL_GPIO_Init(DCMI_VSYNC_GPIO_Port, &GPIO_InitStruct);

  /*Configure GPIO pin : OTG_FS_OverCurrent_Pin */
  GPIO_InitStruct.Pin = OTG_FS_OverCurrent_Pin;
  GPIO_InitStruct.Mode = GPIO_MODE_INPUT;
  GPIO_InitStruct.Pull = GPIO_NOPULL;
  HAL_GPIO_Init(OTG_FS_OverCurrent_GPIO_Port, &GPIO_InitStruct);

  /*Configure GPIO pin : SDMMC_D0_Pin */
  GPIO_InitStruct.Pin = SDMMC_D0_Pin;
  GPIO_InitStruct.Mode = GPIO_MODE_AF_PP;
  GPIO_InitStruct.Pull = GPIO_NOPULL;
  GPIO_InitStruct.Speed = GPIO_SPEED_FREQ_VERY_HIGH;
  GPIO_InitStruct.Alternate = GPIO_AF12_SDMMC1;
  HAL_GPIO_Init(SDMMC_D0_GPIO_Port, &GPIO_InitStruct);

  /*Configure GPIO pins : TP3_Pin NC2_Pin */
  GPIO_InitStruct.Pin = TP3_Pin|NC2_Pin;
  GPIO_InitStruct.Mode = GPIO_MODE_INPUT;
  GPIO_InitStruct.Pull = GPIO_NOPULL;
  HAL_GPIO_Init(GPIOH, &GPIO_InitStruct);

  /*Configure GPIO pin : DCMI_PWR_EN_Pin */
  GPIO_InitStruct.Pin = DCMI_PWR_EN_Pin;
  GPIO_InitStruct.Mode = GPIO_MODE_OUTPUT_PP;
  GPIO_InitStruct.Pull = GPIO_NOPULL;
  GPIO_InitStruct.Speed = GPIO_SPEED_FREQ_LOW;
  HAL_GPIO_Init(DCMI_PWR_EN_GPIO_Port, &GPIO_InitStruct);

  /*Configure GPIO pins : DCMI_D4_Pin DCMI_D3_Pin DCMI_D0_Pin DCMI_D2_Pin
                           DCMI_D1_Pin */
  GPIO_InitStruct.Pin = DCMI_D4_Pin|DCMI_D3_Pin|DCMI_D0_Pin|DCMI_D2_Pin
                          |DCMI_D1_Pin;
  GPIO_InitStruct.Mode = GPIO_MODE_AF_PP;
  GPIO_InitStruct.Pull = GPIO_NOPULL;
  GPIO_InitStruct.Speed = GPIO_SPEED_FREQ_LOW;
  GPIO_InitStruct.Alternate = GPIO_AF13_DCMI;
  HAL_GPIO_Init(GPIOH, &GPIO_InitStruct);

  /*Configure GPIO pin : ARDUINO_PWM_CS_D5_Pin */
  GPIO_InitStruct.Pin = ARDUINO_PWM_CS_D5_Pin;
  GPIO_InitStruct.Mode = GPIO_MODE_AF_PP;
  GPIO_InitStruct.Pull = GPIO_NOPULL;
  GPIO_InitStruct.Speed = GPIO_SPEED_FREQ_LOW;
  GPIO_InitStruct.Alternate = GPIO_AF2_TIM5;
  HAL_GPIO_Init(ARDUINO_PWM_CS_D5_GPIO_Port, &GPIO_InitStruct);

  /*Configure GPIO pin : VCP_TX_Pin */
  GPIO_InitStruct.Pin = VCP_TX_Pin;
  GPIO_InitStruct.Mode = GPIO_MODE_AF_PP;
  GPIO_InitStruct.Pull = GPIO_NOPULL;
  GPIO_InitStruct.Speed = GPIO_SPEED_FREQ_LOW;
  GPIO_InitStruct.Alternate = GPIO_AF7_USART1;
  HAL_GPIO_Init(VCP_TX_GPIO_Port, &GPIO_InitStruct);

  /*Configure GPIO pin : ARDUINO_PWM_D10_Pin */
  GPIO_InitStruct.Pin = ARDUINO_PWM_D10_Pin;
  GPIO_InitStruct.Mode = GPIO_MODE_AF_PP;
  GPIO_InitStruct.Pull = GPIO_NOPULL;
  GPIO_InitStruct.Speed = GPIO_SPEED_FREQ_LOW;
  GPIO_InitStruct.Alternate = GPIO_AF1_TIM1;
  HAL_GPIO_Init(ARDUINO_PWM_D10_GPIO_Port, &GPIO_InitStruct);

  /*Configure GPIO pin : LCD_INT_Pin */
  GPIO_InitStruct.Pin = LCD_INT_Pin;
  GPIO_InitStruct.Mode = GPIO_MODE_EVT_RISING;
  GPIO_InitStruct.Pull = GPIO_NOPULL;
  HAL_GPIO_Init(LCD_INT_GPIO_Port, &GPIO_InitStruct);

  /*Configure GPIO pins : ARDUINO_RX_D0_Pin ARDUINO_TX_D1_Pin */
  GPIO_InitStruct.Pin = ARDUINO_RX_D0_Pin|ARDUINO_TX_D1_Pin;
  GPIO_InitStruct.Mode = GPIO_MODE_AF_PP;
  GPIO_InitStruct.Pull = GPIO_NOPULL;
  GPIO_InitStruct.Speed = GPIO_SPEED_FREQ_VERY_HIGH;
  GPIO_InitStruct.Alternate = GPIO_AF8_USART6;
  HAL_GPIO_Init(GPIOC, &GPIO_InitStruct);

  /*Configure GPIO pins : FMC_SDNME_Pin FMC_SDNE0_Pin */
  GPIO_InitStruct.Pin = FMC_SDNME_Pin|FMC_SDNE0_Pin;
  GPIO_InitStruct.Mode = GPIO_MODE_AF_PP;
  GPIO_InitStruct.Pull = GPIO_NOPULL;
  GPIO_InitStruct.Speed = GPIO_SPEED_FREQ_VERY_HIGH;
  GPIO_InitStruct.Alternate = GPIO_AF12_FMC;
  HAL_GPIO_Init(GPIOH, &GPIO_InitStruct);

  /*Configure GPIO pins : ARDUINO_D4_Pin ARDUINO_D2_Pin EXT_RST_Pin */
  GPIO_InitStruct.Pin = ARDUINO_D4_Pin|ARDUINO_D2_Pin|EXT_RST_Pin;
  GPIO_InitStruct.Mode = GPIO_MODE_OUTPUT_PP;
  GPIO_InitStruct.Pull = GPIO_NOPULL;
  GPIO_InitStruct.Speed = GPIO_SPEED_FREQ_LOW;
  HAL_GPIO_Init(GPIOG, &GPIO_InitStruct);

  /*Configure GPIO pins : ARDUINO_A4_Pin ARDUINO_A5_Pin ARDUINO_A1_Pin ARDUINO_A2_Pin
                           ARDUINO_A3_Pin */
  GPIO_InitStruct.Pin = ARDUINO_A4_Pin|ARDUINO_A5_Pin|ARDUINO_A1_Pin|ARDUINO_A2_Pin
                          |ARDUINO_A3_Pin;
  GPIO_InitStruct.Mode = GPIO_MODE_ANALOG;
  GPIO_InitStruct.Pull = GPIO_NOPULL;
  HAL_GPIO_Init(GPIOF, &GPIO_InitStruct);

  /*Configure GPIO pin : FMC_SDCKE0_Pin */
  GPIO_InitStruct.Pin = FMC_SDCKE0_Pin;
  GPIO_InitStruct.Mode = GPIO_MODE_AF_PP;
  GPIO_InitStruct.Pull = GPIO_NOPULL;
  GPIO_InitStruct.Speed = GPIO_SPEED_FREQ_VERY_HIGH;
  GPIO_InitStruct.Alternate = GPIO_AF12_FMC;
  HAL_GPIO_Init(FMC_SDCKE0_GPIO_Port, &GPIO_InitStruct);

  /*Configure GPIO pins : RMII_MDC_Pin RMII_RXD0_Pin RMII_RXD1_Pin */
  GPIO_InitStruct.Pin = RMII_MDC_Pin|RMII_RXD0_Pin|RMII_RXD1_Pin;
  GPIO_InitStruct.Mode = GPIO_MODE_AF_PP;
  GPIO_InitStruct.Pull = GPIO_NOPULL;
  GPIO_InitStruct.Speed = GPIO_SPEED_FREQ_VERY_HIGH;
  GPIO_InitStruct.Alternate = GPIO_AF11_ETH;
  HAL_GPIO_Init(GPIOC, &GPIO_InitStruct);

  /*Configure GPIO pin : PB2 */
  GPIO_InitStruct.Pin = GPIO_PIN_2;
  GPIO_InitStruct.Mode = GPIO_MODE_AF_PP;
  GPIO_InitStruct.Pull = GPIO_NOPULL;
  GPIO_InitStruct.Speed = GPIO_SPEED_FREQ_VERY_HIGH;
  GPIO_InitStruct.Alternate = GPIO_AF9_QUADSPI;
  HAL_GPIO_Init(GPIOB, &GPIO_InitStruct);

  /*Configure GPIO pins : QSPI_D1_Pin QSPI_D3_Pin QSPI_D0_Pin */
  GPIO_InitStruct.Pin = QSPI_D1_Pin|QSPI_D3_Pin|QSPI_D0_Pin;
  GPIO_InitStruct.Mode = GPIO_MODE_AF_PP;
  GPIO_InitStruct.Pull = GPIO_NOPULL;
  GPIO_InitStruct.Speed = GPIO_SPEED_FREQ_VERY_HIGH;
  GPIO_InitStruct.Alternate = GPIO_AF9_QUADSPI;
  HAL_GPIO_Init(GPIOD, &GPIO_InitStruct);

  /*Configure GPIO pin : RMII_RXER_Pin */
  GPIO_InitStruct.Pin = RMII_RXER_Pin;
  GPIO_InitStruct.Mode = GPIO_MODE_INPUT;
  GPIO_InitStruct.Pull = GPIO_NOPULL;
  HAL_GPIO_Init(RMII_RXER_GPIO_Port, &GPIO_InitStruct);

  /*Configure GPIO pins : RMII_REF_CLK_Pin RMII_MDIO_Pin RMII_CRS_DV_Pin */
  GPIO_InitStruct.Pin = RMII_REF_CLK_Pin|RMII_MDIO_Pin|RMII_CRS_DV_Pin;
  GPIO_InitStruct.Mode = GPIO_MODE_AF_PP;
  GPIO_InitStruct.Pull = GPIO_NOPULL;
  GPIO_InitStruct.Speed = GPIO_SPEED_FREQ_VERY_HIGH;
  GPIO_InitStruct.Alternate = GPIO_AF11_ETH;
  HAL_GPIO_Init(GPIOA, &GPIO_InitStruct);

  /*Configure GPIO pin : ARDUINO_A0_Pin */
  GPIO_InitStruct.Pin = ARDUINO_A0_Pin;
  GPIO_InitStruct.Mode = GPIO_MODE_ANALOG;
  GPIO_InitStruct.Pull = GPIO_NOPULL;
  HAL_GPIO_Init(ARDUINO_A0_GPIO_Port, &GPIO_InitStruct);

  /*Configure GPIO pins : DCMI_HSYNC_Pin PA6 */
  GPIO_InitStruct.Pin = DCMI_HSYNC_Pin|GPIO_PIN_6;
  GPIO_InitStruct.Mode = GPIO_MODE_AF_PP;
  GPIO_InitStruct.Pull = GPIO_NOPULL;
  GPIO_InitStruct.Speed = GPIO_SPEED_FREQ_LOW;
  GPIO_InitStruct.Alternate = GPIO_AF13_DCMI;
  HAL_GPIO_Init(GPIOA, &GPIO_InitStruct);

  /*Configure GPIO pins : LCD_SCL_Pin LCD_SDA_Pin */
  GPIO_InitStruct.Pin = LCD_SCL_Pin|LCD_SDA_Pin;
  GPIO_InitStruct.Mode = GPIO_MODE_AF_OD;
  GPIO_InitStruct.Pull = GPIO_NOPULL;
  GPIO_InitStruct.Speed = GPIO_SPEED_FREQ_VERY_HIGH;
  GPIO_InitStruct.Alternate = GPIO_AF4_I2C3;
  HAL_GPIO_Init(GPIOH, &GPIO_InitStruct);

  /*Configure GPIO pin : ARDUINO_PWM_D6_Pin */
  GPIO_InitStruct.Pin = ARDUINO_PWM_D6_Pin;
  GPIO_InitStruct.Mode = GPIO_MODE_AF_PP;
  GPIO_InitStruct.Pull = GPIO_NOPULL;
  GPIO_InitStruct.Speed = GPIO_SPEED_FREQ_LOW;
  GPIO_InitStruct.Alternate = GPIO_AF9_TIM12;
  HAL_GPIO_Init(ARDUINO_PWM_D6_GPIO_Port, &GPIO_InitStruct);

  /*Configure GPIO pins : ARDUINO_MISO_D12_Pin ARDUINO_MOSI_PWM_D11_Pin */
  GPIO_InitStruct.Pin = ARDUINO_MISO_D12_Pin|ARDUINO_MOSI_PWM_D11_Pin;
  GPIO_InitStruct.Mode = GPIO_MODE_AF_PP;
  GPIO_InitStruct.Pull = GPIO_NOPULL;
  GPIO_InitStruct.Speed = GPIO_SPEED_FREQ_LOW;
  GPIO_InitStruct.Alternate = GPIO_AF5_SPI2;
  HAL_GPIO_Init(GPIOB, &GPIO_InitStruct);

}

/* USER CODE BEGIN 4 */

//--------------------------------------------------------------------+
// Device callbacks
//--------------------------------------------------------------------+

// Invoked when device is mounted
void tud_mount_cb(void) {
  blink_interval_ms = BLINK_MOUNTED;
}

// Invoked when device is unmounted
void tud_umount_cb(void) {
  blink_interval_ms = BLINK_NOT_MOUNTED;
}

// Invoked when usb bus is suspended
// remote_wakeup_en : if host allow us  to perform remote wakeup
// Within 7ms, device must draw an average of current less than 2.5 mA from bus
void tud_suspend_cb(bool remote_wakeup_en) {
  (void) remote_wakeup_en;
  blink_interval_ms = BLINK_SUSPENDED;
}

// Invoked when usb bus is resumed
void tud_resume_cb(void) {
  blink_interval_ms = tud_mounted() ? BLINK_MOUNTED : BLINK_NOT_MOUNTED;
}

//--------------------------------------------------------------------+
// USB CDC
//--------------------------------------------------------------------+
static void cdc_task(void) {
  // connected() check for DTR bit
  // Most but not all terminal client set this when making connection
  // if ( tud_cdc_connected() )
  {
    // connected and there are data available
    if (tud_cdc_available()) {
      // read data
      char buf[64];
      uint32_t count = tud_cdc_read(buf, sizeof(buf));
      (void) count;

      // Echo back
      // Note: Skip echo by commenting out write() and write_flush()
      // for throughput test e.g
      //    $ dd if=/dev/zero of=/dev/ttyACM0 count=10000
      tud_cdc_write(buf, count);
      tud_cdc_write_flush();
    }
  }
}

// Invoked when cdc when line state changed e.g connected/disconnected
void tud_cdc_line_state_cb(uint8_t itf, bool dtr, bool rts) {
  (void) itf;
  (void) rts;

  // TODO set some indicator
  if (dtr) {
    // Terminal connected
  } else {
    // Terminal disconnected
  }
}

// Invoked when CDC interface received data from host
void tud_cdc_rx_cb(uint8_t itf) {
  (void) itf;
}

//--------------------------------------------------------------------+
// BLINKING TASK
//--------------------------------------------------------------------+
static void led_blinking_task(void) {
  static uint32_t start_ms = 0;
  static bool led_state = false;

  // Blink every interval ms
  if (HAL_GetTick() - start_ms < blink_interval_ms) return; // not enough time
  start_ms += blink_interval_ms;

  HAL_GPIO_WritePin(LED_GPIO_Port, LED_Pin, led_state);
  led_state = 1 - led_state; // toggle
}

/* USER CODE END 4 */

void Error_Handler(void)
{
  __disable_irq();
  while (1)
  {
  }
}
